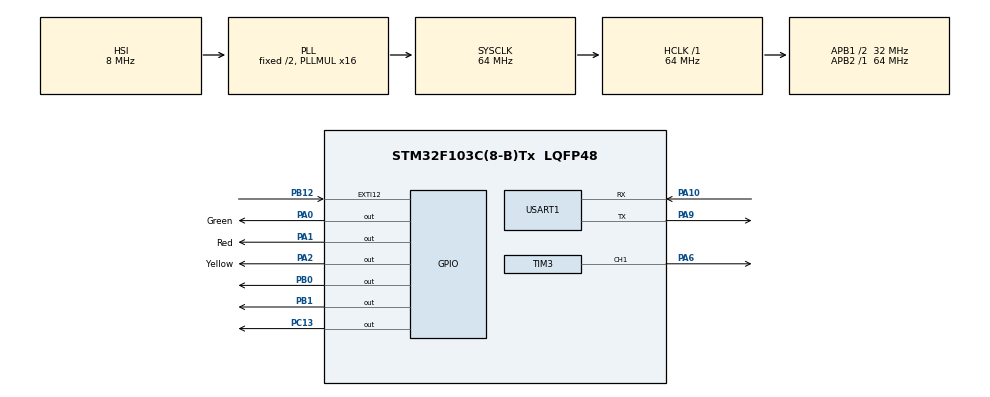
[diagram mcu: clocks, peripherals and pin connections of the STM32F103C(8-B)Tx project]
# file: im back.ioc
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Mcu.Family=STM32F1
Mcu.Name=STM32F103C(8-B)Tx
Mcu.Package=LQFP48
NVIC.EXTI15_10_IRQn=true\:0\:0\:false\:false\:true\:true\:true\:true
NVIC.PriorityGroup=NVIC_PRIORITYGROUP_4
NVIC.TIM3_IRQn=true\:0\:0\:false\:false\:true\:true\:true\:true
NVIC.USART1_IRQn=true\:0\:0\:false\:false\:true\:true\:true\:true
PA0-WKUP.GPIO_Label=Green
PA0-WKUP.PinState=GPIO_PIN_RESET
PA0-WKUP.Signal=GPIO_Output
PA1.GPIO_Label=Red
PA1.PinState=GPIO_PIN_SET
PA1.Signal=GPIO_Output
PA10.Mode=Asynchronous
PA10.Signal=USART1_RX
PA13.Mode=Serial_Wire
PA13.Signal=SYS_JTMS-SWDIO
PA14.Mode=Serial_Wire
PA14.Signal=SYS_JTCK-SWCLK
PA2.GPIO_Label=Yellow
PA2.Signal=GPIO_Output
PA6.Signal=S_TIM3_CH1
PA9.Mode=Asynchronous
PA9.Signal=USART1_TX
PB0.PinState=GPIO_PIN_SET
PB0.Signal=GPIO_Output
PB1.PinState=GPIO_PIN_SET
PB1.Signal=GPIO_Output
PB12.GPIO_ModeDefaultEXTI=GPIO_MODE_IT_FALLING
PB12.GPIO_PuPd=GPIO_PULLUP
PB12.Signal=GPXTI12
PC13-TAMPER-RTC.GPIO_PuPd=GPIO_NOPULL
PC13-TAMPER-RTC.PinState=GPIO_PIN_SET
PC13-TAMPER-RTC.Signal=GPIO_Output
PD0-OSC_IN.Mode=HSE-External-Oscillator
PD0-OSC_IN.Signal=RCC_OSC_IN
PD1-OSC_OUT.Mode=HSE-External-Oscillator
PD1-OSC_OUT.Signal=RCC_OSC_OUT
ProjectManager.HeapSize=0x200
ProjectManager.StackSize=0x400
ProjectManager.TargetToolchain=STM32CubeIDE
RCC.AHBFreq_Value=64000000
RCC.APB1CLKDivider=RCC_HCLK_DIV2
RCC.APB1Freq_Value=32000000
RCC.APB1TimFreq_Value=64000000
RCC.APB2Freq_Value=64000000
RCC.APB2TimFreq_Value=64000000
RCC.HCLKFreq_Value=64000000
RCC.PLLMUL=RCC_PLL_MUL16
RCC.SYSCLKFreq_VALUE=64000000
RCC.SYSCLKSource=RCC_SYSCLKSOURCE_PLLCLK
RCC.USBFreq_Value=64000000
SH.S_TIM3_CH1.0=TIM3_CH1,PWM Generation1 CH1
TIM3.AutoReloadPreload=TIM_AUTORELOAD_PRELOAD_ENABLE
TIM3.Channel-PWM\ Generation1\ CH1=TIM_CHANNEL_1
TIM3.Period=999
TIM3.Prescaler=71
USART1.VirtualMode=VM_ASYNC
board=custom

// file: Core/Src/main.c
/* USER CODE BEGIN Header */
/**
  ******************************************************************************
  * @file           : main.c
  * @brief          : Main program body
  ******************************************************************************
  * @attention
  *
  * Copyright (c) 2026 STMicroelectronics.
  * All rights reserved.
  *
  * This software is licensed under terms that can be found in the LICENSE file
  * in the root directory of this software component.
  * If no LICENSE file comes with this software, it is provided AS-IS.
  *
  ******************************************************************************
  */
/* USER CODE END Header */
#include "main.h"
#include <string.h>   // 新增：串口指令解析必需
#include <stdio.h>    // 新增：sprintf必需
#include <stdlib.h>   // 新增：atoi必需

TIM_HandleTypeDef htim3;
UART_HandleTypeDef huart1;

/* USER CODE BEGIN PV */
// 自动调速参数
uint16_t pwm_duty;                // 唯一定义，修复重复定义错误
uint32_t last_update_time;
uint8_t speed_phase;
const uint16_t duty_map[4] = {200, 500, 800, 500};
const uint32_t phase_interval = 10;
const uint32_t pause_time = 1200;
uint8_t is_pausing;
uint32_t pause_start_time;

// 串口参数
#define UART_BUF_SIZE 64
uint8_t uart_buf[UART_BUF_SIZE];
uint16_t uart_buf_head = 0;
uint16_t uart_buf_tail = 0;
uint8_t uart_recv_data;

// 控制模式：0=自动调速 1=串口手动控制
uint8_t control_mode = 0;
uint8_t motor_state = 1; // 默认启动
/* USER CODE END PV */

void SystemClock_Config(void);
static void MX_GPIO_Init(void);
static void MX_TIM3_Init(void);
static void MX_USART1_UART_Init(void);

/* USER CODE BEGIN PFP */
void update_pwm_duty(void);
uint8_t uart_check_cmd(char *cmd_buf, uint8_t max_len);
uint8_t uart_read_byte(void);
void parse_motor_cmd(char *cmd);
/* USER CODE END PFP */

/* USER CODE BEGIN 0 */
// 自动调速函数
void update_pwm_duty(void)
{
  if(is_pausing)
  {
    if(HAL_GetTick() - pause_start_time >= pause_time)
    {
      is_pausing = 0;
      speed_phase++;
      if(speed_phase >= 4) speed_phase = 0;
    }
    return;
  }

  switch(speed_phase)
  {
    case 0: pwm_duty += 2; if(pwm_duty >= duty_map[1]){is_pausing=1; pause_start_time=HAL_GetTick();} break;
    case 1: pwm_duty += 2; if(pwm_duty >= duty_map[2]){is_pausing=1; pause_start_time=HAL_GetTick();} break;
    case 2: pwm_duty -= 2; if(pwm_duty <= duty_map[3]){is_pausing=1; pause_start_time=HAL_GetTick();} break;
    case 3: pwm_duty -= 2; if(pwm_duty <= duty_map[0]){is_pausing=1; pause_start_time=HAL_GetTick();} break;
  }
  __HAL_TIM_SET_COMPARE(&htim3, TIM_CHANNEL_1, pwm_duty);
}
/* USER CODE END 0 */

int main(void)
{
  HAL_Init();
  SystemClock_Config();
  MX_GPIO_Init();
  MX_TIM3_Init();
  MX_USART1_UART_Init();

  /* USER CODE BEGIN 2 */
  // 初始化参数
  pwm_duty = duty_map[0];
  last_update_time = 0;
  speed_phase = 0;
  is_pausing = 0;
  pause_start_time = 0;

  // 启动PWM
  HAL_TIM_PWM_Start(&htim3, TIM_CHANNEL_1);
  // 正转：PB0=1，PB1=0（修复方向引脚错误）
  HAL_GPIO_WritePin(GPIOB, GPIO_PIN_0, GPIO_PIN_SET);
  HAL_GPIO_WritePin(GPIOB, GPIO_PIN_1, GPIO_PIN_RESET);
  // 开启串口中断
  HAL_UART_Receive_IT(&huart1, &uart_recv_data, 1);
  /* USER CODE END 2 */

  /* Infinite loop */
  /* USER CODE BEGIN WHILE */
  while (1)
  {
    // 1. 串口指令处理（优先级最高）
    char cmd_buf[32] = {0};
    if(uart_check_cmd(cmd_buf, 32))
    {
      parse_motor_cmd(cmd_buf);
    }

    // 2. 自动调速模式（仅手动模式关闭时生效）
    if(control_mode == 0 && motor_state == 1)
    {
      if (HAL_GetTick() - last_update_time > phase_interval)
      {
        last_update_time = HAL_GetTick();
        update_pwm_duty();
      }
    }
    /* USER CODE END WHILE */

  }
}

void SystemClock_Config(void)
{
  RCC_OscInitTypeDef RCC_OscInitStruct = {0};
  RCC_ClkInitTypeDef RCC_ClkInitStruct = {0};

  RCC_OscInitStruct.OscillatorType = RCC_OSCILLATORTYPE_HSI;
  RCC_OscInitStruct.HSIState = RCC_HSI_ON;
  RCC_OscInitStruct.HSICalibrationValue = RCC_HSICALIBRATION_DEFAULT;
  RCC_OscInitStruct.PLL.PLLState = RCC_PLL_ON;
  RCC_OscInitStruct.PLL.PLLSource = RCC_PLLSOURCE_HSI_DIV2;
  RCC_OscInitStruct.PLL.PLLMUL = RCC_PLL_MUL16;
  if (HAL_RCC_OscConfig(&RCC_OscInitStruct) != HAL_OK)
  {
    Error_Handler();
  }

  RCC_ClkInitStruct.ClockType = RCC_CLOCKTYPE_HCLK|RCC_CLOCKTYPE_SYSCLK
                              |RCC_CLOCKTYPE_PCLK1|RCC_CLOCKTYPE_PCLK2;
  RCC_ClkInitStruct.SYSCLKSource = RCC_SYSCLKSOURCE_PLLCLK;
  RCC_ClkInitStruct.AHBCLKDivider = RCC_SYSCLK_DIV1;
  RCC_ClkInitStruct.APB1CLKDivider = RCC_HCLK_DIV2;
  RCC_ClkInitStruct.APB2CLKDivider = RCC_HCLK_DIV1;

  if (HAL_RCC_ClockConfig(&RCC_ClkInitStruct, FLASH_LATENCY_2) != HAL_OK)
  {
    Error_Handler();
  }
}

static void MX_TIM3_Init(void)
{
  TIM_MasterConfigTypeDef sMasterConfig = {0};
  TIM_OC_InitTypeDef sConfigOC = {0};

  htim3.Instance = TIM3;
  htim3.Init.Prescaler = 71;
  htim3.Init.CounterMode = TIM_COUNTERMODE_UP;
  htim3.Init.Period = 999;
  htim3.Init.ClockDivision = TIM_CLOCKDIVISION_DIV1;
  htim3.Init.AutoReloadPreload = TIM_AUTORELOAD_PRELOAD_ENABLE;
  if (HAL_TIM_PWM_Init(&htim3) != HAL_OK)
  {
    Error_Handler();
  }
  sMasterConfig.MasterOutputTrigger = TIM_TRGO_RESET;
  sMasterConfig.MasterSlaveMode = TIM_MASTERSLAVEMODE_DISABLE;
  if (HAL_TIMEx_MasterConfigSynchronization(&htim3, &sMasterConfig) != HAL_OK)
  {
    Error_Handler();
  }
  sConfigOC.OCMode = TIM_OCMODE_PWM1;
  sConfigOC.Pulse = 0;
  sConfigOC.OCPolarity = TIM_OCPOLARITY_HIGH;
  sConfigOC.OCFastMode = TIM_OCFAST_DISABLE;
  if (HAL_TIM_PWM_ConfigChannel(&htim3, &sConfigOC, TIM_CHANNEL_1) != HAL_OK)
  {
    Error_Handler();
  }
  HAL_TIM_MspPostInit(&htim3);
}

static void MX_USART1_UART_Init(void)
{
  huart1.Instance = USART1;
  huart1.Init.BaudRate = 115200;
  huart1.Init.WordLength = UART_WORDLENGTH_8B;
  huart1.Init.StopBits = UART_STOPBITS_1;
  huart1.Init.Parity = UART_PARITY_NONE;
  huart1.Init.Mode = UART_MODE_TX_RX;
  huart1.Init.HwFlowCtl = UART_HWCONTROL_NONE;
  huart1.Init.OverSampling = UART_OVERSAMPLING_16;
  if (HAL_UART_Init(&huart1) != HAL_OK)
  {
    Error_Handler();
  }
}

static void MX_GPIO_Init(void)
{
  GPIO_InitTypeDef GPIO_InitStruct = {0};

  __HAL_RCC_GPIOC_CLK_ENABLE();
  __HAL_RCC_GPIOD_CLK_ENABLE();
  __HAL_RCC_GPIOA_CLK_ENABLE();
  __HAL_RCC_GPIOB_CLK_ENABLE();

  HAL_GPIO_WritePin(GPIOC, GPIO_PIN_13, GPIO_PIN_SET);
  HAL_GPIO_WritePin(GPIOA, Green_Pin|Yellow_Pin, GPIO_PIN_RESET);
  HAL_GPIO_WritePin(Red_GPIO_Port, Red_Pin, GPIO_PIN_SET);
  HAL_GPIO_WritePin(GPIOB, GPIO_PIN_0|GPIO_PIN_1, GPIO_PIN_RESET);

  GPIO_InitStruct.Pin = GPIO_PIN_13;
  GPIO_InitStruct.Mode = GPIO_MODE_OUTPUT_PP;
  GPIO_InitStruct.Pull = GPIO_NOPULL;
  GPIO_InitStruct.Speed = GPIO_SPEED_FREQ_LOW;
  HAL_GPIO_Init(GPIOC, &GPIO_InitStruct);

  GPIO_InitStruct.Pin = Green_Pin|Red_Pin|Yellow_Pin;
  GPIO_InitStruct.Mode = GPIO_MODE_OUTPUT_PP;
  GPIO_InitStruct.Pull = GPIO_NOPULL;
  GPIO_InitStruct.Speed = GPIO_SPEED_FREQ_LOW;
  HAL_GPIO_Init(GPIOA, &GPIO_InitStruct);

  GPIO_InitStruct.Pin = GPIO_PIN_0|GPIO_PIN_1;
  GPIO_InitStruct.Mode = GPIO_MODE_OUTPUT_PP;
  GPIO_InitStruct.Pull = GPIO_NOPULL;
  GPIO_InitStruct.Speed = GPIO_SPEED_FREQ_LOW;
  HAL_GPIO_Init(GPIOB, &GPIO_InitStruct);

  GPIO_InitStruct.Pin = GPIO_PIN_12;
  GPIO_InitStruct.Mode = GPIO_MODE_IT_FALLING;
  GPIO_InitStruct.Pull = GPIO_PULLUP;
  HAL_GPIO_Init(GPIOB, &GPIO_InitStruct);

  HAL_NVIC_SetPriority(EXTI15_10_IRQn, 0, 0);
  HAL_NVIC_EnableIRQ(EXTI15_10_IRQn);
}

/* USER CODE BEGIN 4 */
// 串口中断回调
void HAL_UART_RxCpltCallback(UART_HandleTypeDef *huart)
{
  if(huart->Instance == USART1)
  {
    uint16_t next_head = (uart_buf_head + 1) % UART_BUF_SIZE;
    if(next_head != uart_buf_tail)
    {
      uart_buf[uart_buf_head] = uart_recv_data;
      uart_buf_head = next_head;
    }
    HAL_UART_Receive_IT(&huart1, &uart_recv_data, 1);
  }
}

uint8_t uart_read_byte(void)
{
  if(uart_buf_head == uart_buf_tail) return 0;
  uint8_t data = uart_buf[uart_buf_tail];
  uart_buf_tail = (uart_buf_tail + 1) % UART_BUF_SIZE;
  return data;
}

uint8_t uart_check_cmd(char *cmd_buf, uint8_t max_len)
{
  static uint8_t cmd_idx = 0;
  while(uart_buf_head != uart_buf_tail && cmd_idx < max_len - 1)
  {
    uint8_t data = uart_read_byte();
    if(data == '\n' || data == '\r')
    {
      cmd_buf[cmd_idx] = '\0';
      cmd_idx = 0;
      return 1;
    }
    cmd_buf[cmd_idx++] = data;
  }
  return 0;
}

// 指令解析（新增自动/手动切换）
void parse_motor_cmd(char *cmd)
{
  char *token = strtok(cmd, " ");
  if(token == NULL){HAL_UART_Transmit(&huart1, (uint8_t*)"ERROR: Empty cmd\r\n", 17, 100); return;}

  if(strcmp(token, "AUTO") == 0)    // 切换自动调速
  {
    control_mode = 0; motor_state = 1;
    HAL_UART_Transmit(&huart1, (uint8_t*)"Mode: AUTO\r\n", 11, 100);
  }
  else if(strcmp(token, "MANUAL") == 0) // 切换手动控制
  {
    control_mode = 1;
    HAL_UART_Transmit(&huart1, (uint8_t*)"Mode: MANUAL\r\n", 13, 100);
  }
  else if(strcmp(token, "ON") == 0)
  {
    motor_state = 1;
    __HAL_TIM_SET_COMPARE(&htim3, TIM_CHANNEL_1, pwm_duty);
    HAL_UART_Transmit(&huart1, (uint8_t*)"Motor ON\r\n", 9, 100);
  }
  else if(strcmp(token, "OFF") == 0)
  {
    motor_state = 0;
    __HAL_TIM_SET_COMPARE(&htim3, TIM_CHANNEL_1, 0);
    HAL_UART_Transmit(&huart1, (uint8_t*)"Motor OFF\r\n", 10, 100);
  }
  else if(strcmp(token, "SPEED") == 0)
  {
    token = strtok(NULL, " ");
    if(token == NULL){HAL_UART_Transmit(&huart1, (uint8_t*)"ERROR: No speed\r\n", 17, 100); return;}
    int speed = atoi(token);
    if(speed<0||speed>100){HAL_UART_Transmit(&huart1, (uint8_t*)"ERROR: 0-100\r\n", 13, 100); return;}
    pwm_duty = speed * 999 / 100;
    if(motor_state) __HAL_TIM_SET_COMPARE(&htim3, TIM_CHANNEL_1, pwm_duty);
    char buf[20]; sprintf(buf, "Speed: %d%%\r\n", speed);
    HAL_UART_Transmit(&huart1, (uint8_t*)buf, strlen(buf), 100);
  }
  else
  {
    HAL_UART_Transmit(&huart1, (uint8_t*)"ERROR: Unknown\r\n", 15, 100);
  }
}
/* USER CODE END 4 */

void Error_Handler(void)
{
  __disable_irq();
  while (1){}
}
